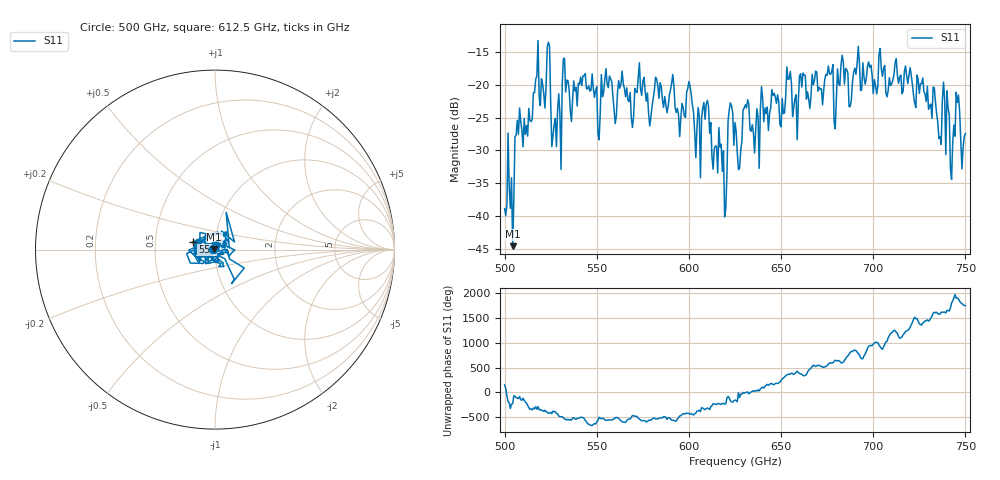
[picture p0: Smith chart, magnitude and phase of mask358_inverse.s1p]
!Created with skrf (http://scikit-rf.org).
# GHz S MA R 50.0
!freq magS11 angS11
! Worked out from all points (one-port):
!   401 points, 500 GHz to 750 GHz, reference 50 ohm
!   lowest |S11| = -44.5 dB at 504.4 GHz (marker M1), VSWR 1.01, Z = 49.6 + j0.423 ohm
!   |S11| at or under -10 dB: start of sweep to end of sweep
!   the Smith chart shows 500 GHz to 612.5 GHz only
!   S11 on the Smith chart (normalised r, x): 500 GHz: 0.98, +0.01; 555 GHz: 0.77, +0.07; 612.5 GHz: 1.00, +0.06
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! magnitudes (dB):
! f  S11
! 500 GHz  -38.9
! 504.4 GHz  -44.5
! 506.9 GHz  -25.4
! 513.8 GHz  -25.4
! 516.9 GHz  -19.2
! 523.8 GHz  -13.5
! 526.9 GHz  -26.1
! 531.2 GHz  -19.9
! 542.5 GHz  -18.6
! 550.6 GHz  -27.4
! 555 GHz  -17.6
! 562.5 GHz  -20.5
! 593.8 GHz  -23.6
! 600 GHz  -19.5
! 612.5 GHz  -30.9
! 619.4 GHz  -40.1
! 622.5 GHz  -22.8
! 625 GHz  -25.8
! 656.2 GHz  -24.8
! 683.8 GHz  -16.5
! 687.5 GHz  -23.3
! 691.2 GHz  -16.8
! 718.8 GHz  -19.8
! 735.6 GHz  -28.2
! 739.4 GHz  -30.6
! 743.1 GHz  -28.7
! 745.6 GHz  -22.7
! 750 GHz  -27.4
